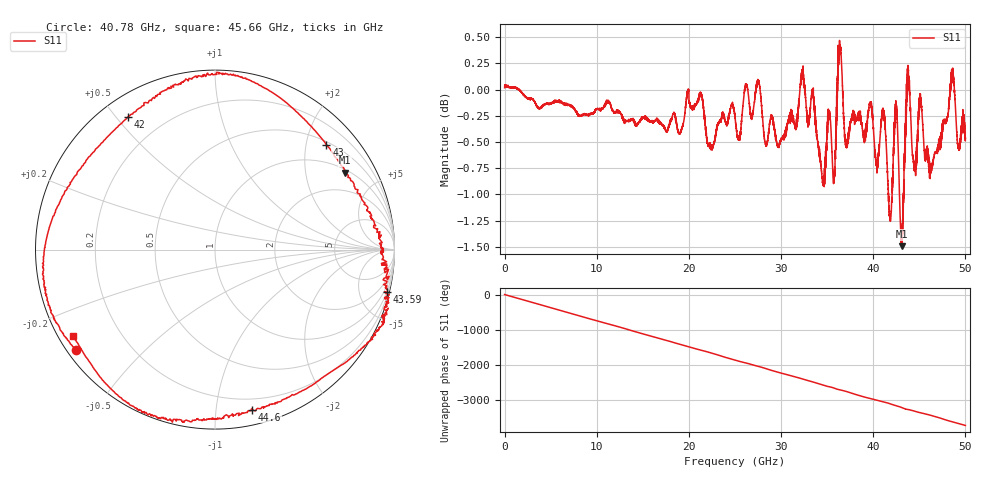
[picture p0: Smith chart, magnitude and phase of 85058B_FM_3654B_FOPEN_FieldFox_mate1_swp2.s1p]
!Created with skrf (http://scikit-rf.org).
# Hz S RI R 50.0
!freq ReS11 ImS11
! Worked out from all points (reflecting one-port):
!   10001 points, 300 kHz to 50 GHz, reference 50 ohm
!   lowest |S11| = -1.5 dB at 43.11 GHz (marker M1), VSWR 11.67, Z = 56.1 + j165 ohm
!   phase of S11 starts at 0 deg and turns -3715 deg over the sweep
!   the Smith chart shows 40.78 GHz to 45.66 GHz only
!   S11 on the Smith chart (normalised r, x): 40.78 GHz: 0.03, -0.32; 42 GHz: 0.08, +0.54; 43 GHz: 0.56, +2.41; 43.59 GHz: 0.37, -8.21; 44.6 GHz: 0.11, -1.25; 45.66 GHz: 0.04, -0.28
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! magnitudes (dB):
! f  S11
! 300 kHz  0.0
! 6.25 GHz  -0.1
! 12.5 GHz  -0.2
! 18.75 GHz  -0.4
! 25 GHz  -0.3
! 27.5 GHz  0.1
! 28.35 GHz  -0.5
! 31.25 GHz  -0.3
! 32.34 GHz  0.2
! 34.49 GHz  -0.9
! 35.21 GHz  -0.2
! 35.72 GHz  -0.9
! 36.39 GHz  0.4
! 37 GHz  -0.5
! 37.5 GHz  -0.3
! 40.78 GHz  -0.4
! 42 GHz  -1.1
! 42.48 GHz  -0.2
! 43 GHz  -1.4
! 43.11 GHz  -1.5
! 43.59 GHz  -0.1
! 43.75 GHz  0.0
! 44.6 GHz  -0.8
! 45.12 GHz  0.0
! 45.66 GHz  -0.7
! 48.57 GHz  0.1
! 49.23 GHz  -0.6
! 50 GHz  -0.5
